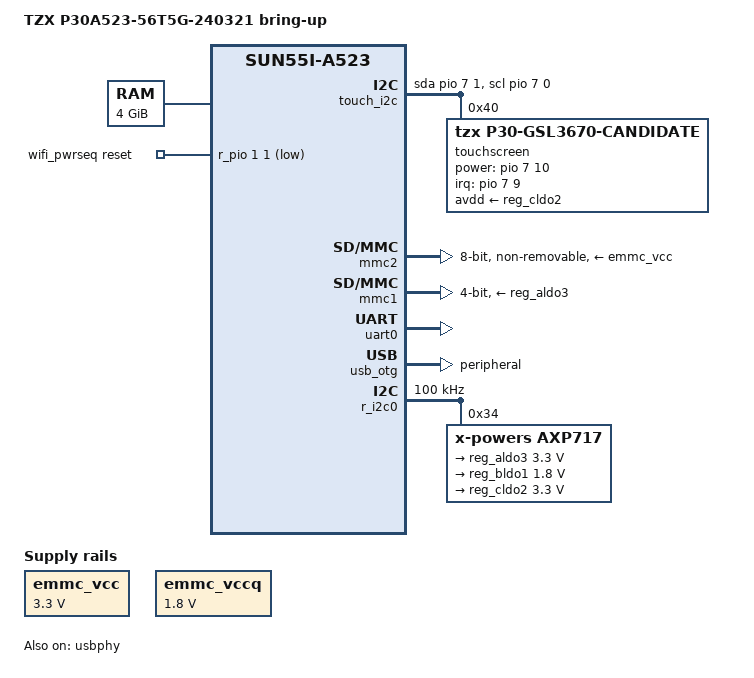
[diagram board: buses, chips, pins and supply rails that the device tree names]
// SPDX-License-Identifier: (GPL-2.0-only OR MIT)
/dts-v1/;
#include "sun55i-a523.dtsi"
#include <dt-bindings/gpio/gpio.h>

/ {
    model = "TZX P30A523-56T5G-240321 bring-up";
    compatible = "tzx,p30a523", "allwinner,sun55i-a523";
    aliases {
        serial0 = &uart0;
        mmc0 = &mmc2;
        mmc1 = &mmc1;
        i2c0 = &r_i2c0;
        i2c1 = &touch_i2c;
    };
    chosen {
        stdout-path = "serial0:115200n8";
        bootargs = "console=tty0 console=ttyS0,115200 earlycon=uart8250,mmio32,0x02500000,115200 loglevel=8 ignore_loglevel clk_ignore_unused regulator_ignore_unused rdinit=/init panic=5";
        linux,initrd-start = <0x0 0x60000000>;
        linux,initrd-end = <0x0 0x61000000>;
    };
    /* 4096 MiB reported by training; the ARM64 entry verified distinct
     * addresses at all sixteen 256-MiB boundaries on this board. */
    memory@40000000 {
        device_type = "memory";
        reg = <0x0 0x40000000 0x1 0x00000000>;
    };
    reserved-memory {
        #address-cells = <2>;
        #size-cells = <2>;
        ranges;
        ramoops@43000000 {
            compatible = "ramoops";
            reg = <0x0 0x43000000 0x0 0x100000>;
            record-size = <0x20000>;
            console-size = <0x80000>;
            pmsg-size = <0x20000>;
        };
    };
    /* Fixed descriptions of the currently powered eMMC rails. These nodes
     * have no GPIO/PMIC control and do not alter the existing rail settings. */
    emmc_vcc: regulator-emmc-vcc {
        compatible = "regulator-fixed";
        regulator-name = "emmc-vcc";
        regulator-min-microvolt = <3300000>;
        regulator-max-microvolt = <3300000>;
        regulator-always-on;
    };
    emmc_vccq: regulator-emmc-vccq {
        compatible = "regulator-fixed";
        regulator-name = "emmc-vccq";
        regulator-min-microvolt = <1800000>;
        regulator-max-microvolt = <1800000>;
        regulator-always-on;
    };
    /* GPIO I2C on the verified PH0/PH1 wires was used for the paged firmware
     * test. Hardware I2C writes need retesting with the corrected reset
     * sequence; errors with the old sequence did not prove a bus fault. */
    touch_i2c: touch-i2c {
        compatible = "i2c-gpio";
        sda-gpios = <&pio 7 1 (GPIO_ACTIVE_HIGH | GPIO_OPEN_DRAIN)>;
        scl-gpios = <&pio 7 0 (GPIO_ACTIVE_HIGH | GPIO_OPEN_DRAIN)>;
        i2c-gpio,delay-us = <10>;
        #address-cells = <1>;
        #size-cells = <0>;
        touchscreen@40 {
            compatible = "tzx,p30-gsl3670-candidate";
            reg = <0x40>;
            interrupt-parent = <&pio>;
            interrupts = <7 9 IRQ_TYPE_EDGE_RISING>;
            power-gpios = <&pio 7 10 GPIO_ACTIVE_HIGH>;
            avdd-supply = <&reg_cldo2>;
            firmware-name = "silead/tzx-p30-candidate.fw";
            /* Provisional ranges from this candidate firmware. */
            touchscreen-size-x = <1648>;
            touchscreen-size-y = <880>;
            touchscreen-swapped-x-y;
            touchscreen-inverted-y;
        };
    };
    wifi_pwrseq: wifi-pwrseq {
        compatible = "mmc-pwrseq-simple";
        reset-gpios = <&r_pio 1 1 GPIO_ACTIVE_LOW>; /* R_PIO banks: PL=0, PM=1 */
        post-power-on-delay-ms = <300>;
    };
};

&mmc2 {
    status = "okay";
    bus-width = <8>;
    max-frequency = <25000000>;
    non-removable;
    disable-wp;
    vmmc-supply = <&emmc_vcc>;
    vqmmc-supply = <&emmc_vccq>;
};

&pio {
    vcc-pc-supply = <&emmc_vccq>;
    vcc-pg-supply = <&reg_bldo1>;
    vcc-ph-supply = <&emmc_vcc>;

    touch_i2c_pins: i2c0-ph-pins {
        pins = "PH0", "PH1";
        function = "i2c0";
        allwinner,pinmux = <2>;
        drive-strength = <10>;
        bias-pull-up;
    };
};

/* Leave hardware I2C disabled while the GPIO adapter owns PH0/PH1. */
&i2c0 {
    status = "disabled";
    clock-frequency = <100000>;
    pinctrl-names = "default";
    pinctrl-0 = <&touch_i2c_pins>;
    /delete-property/ dmas;
    /delete-property/ dma-names;
};

/* Keep polling while verifying the radio startup sequence. */
&mmc1 {
    status = "okay";
    bus-width = <4>;
    max-frequency = <25000000>;
    broken-cd;
    disable-wp;
    no-sd;
    no-mmc;
    vmmc-supply = <&reg_aldo3>;
    vqmmc-supply = <&reg_bldo1>;
    mmc-pwrseq = <&wifi_pwrseq>;
};

&uart0 { status = "okay"; };

&usb_otg {
    status = "okay";
    dr_mode = "peripheral";
};

&usbphy { status = "okay"; };

/* Preserve unspecified rail settings; claim only the tested peripheral rails. */
&r_i2c0 {
    status = "okay";
    clock-frequency = <100000>;
    /delete-property/ dmas;
    /delete-property/ dma-names;
    axp717: pmic@34 {
        compatible = "x-powers,axp717";
        reg = <0x34>;
        interrupt-controller;
        #interrupt-cells = <1>;
        interrupt-parent = <&nmi_intc>;
        interrupts = <0 IRQ_TYPE_LEVEL_LOW>;
        regulators {
            reg_aldo3: aldo3 {
                regulator-name = "wifi-vcc";
                regulator-min-microvolt = <3300000>;
                regulator-max-microvolt = <3300000>;
            };
            reg_bldo1: bldo1 {
                regulator-name = "wifi-vcc-io-pg";
                regulator-min-microvolt = <1800000>;
                regulator-max-microvolt = <1800000>;
            };
            /* Confirmed by the chip ID appearing when enabled. */
            reg_cldo2: cldo2 {
                regulator-name = "touch-vcc";
                regulator-min-microvolt = <3300000>;
                regulator-max-microvolt = <3300000>;
                regulator-always-on;
            };
        };
    };
};
